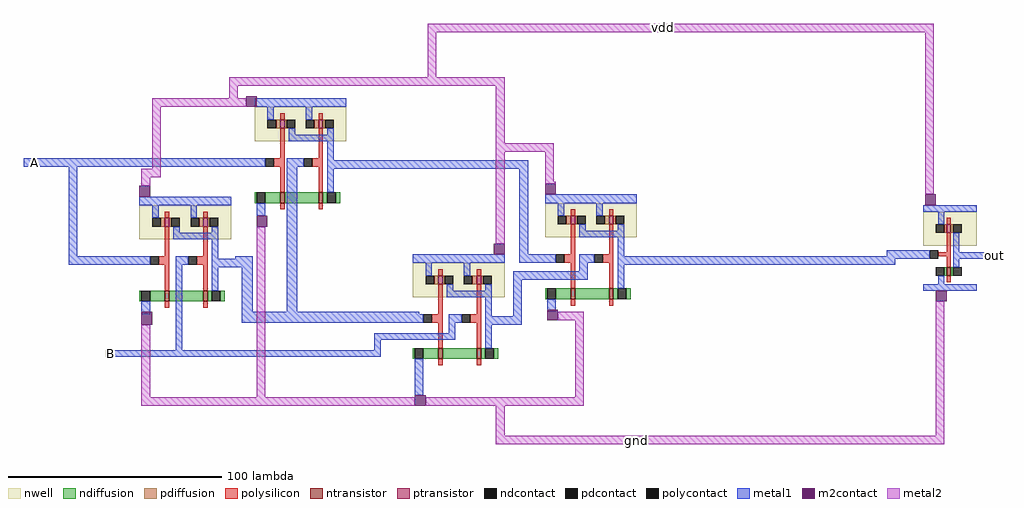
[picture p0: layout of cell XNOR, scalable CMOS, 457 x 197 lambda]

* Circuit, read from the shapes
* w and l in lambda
.subckt XNOR A B gnd out vdd
M1 n1 A gnd VSUBS nfet w=5 l=2
M2 XOR_0/NAND_3/A B n1 VSUBS nfet w=5 l=2
M3 n2 A gnd VSUBS nfet w=5 l=2
M4 XOR_0/NAND_1/A XOR_0/NAND_3/A n2 VSUBS nfet w=5 l=2
M5 n3 XOR_0/NAND_3/A gnd VSUBS nfet w=5 l=2
M6 XOR_0/NAND_1/B B n3 VSUBS nfet w=5 l=2
M7 n4 XOR_0/NAND_1/A gnd VSUBS nfet w=5 l=2
M8 not_0/in XOR_0/NAND_1/B n4 VSUBS nfet w=5 l=2
M9 out not_0/in gnd VSUBS nfet w=4 l=2
M10 XOR_0/NAND_3/A A vdd n5 pfet w=4 l=2
M11 XOR_0/NAND_3/A B vdd n5 pfet w=4 l=2
M12 XOR_0/NAND_1/A A vdd n6 pfet w=4 l=2
M13 XOR_0/NAND_1/A XOR_0/NAND_3/A vdd n6 pfet w=4 l=2
M14 XOR_0/NAND_1/B XOR_0/NAND_3/A vdd n7 pfet w=4 l=2
M15 XOR_0/NAND_1/B B vdd n7 pfet w=4 l=2
M16 not_0/in XOR_0/NAND_1/A vdd n8 pfet w=4 l=2
M17 not_0/in XOR_0/NAND_1/B vdd n8 pfet w=4 l=2
M18 out not_0/in vdd n9 pfet w=4 l=2
.ends

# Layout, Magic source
magic
tech scmos
<< metal1 >>
rect -10 112 4 116
rect 394 70 413 73
rect 284 69 413 70
rect 433 69 447 72
rect 284 66 398 69
rect 28 23 56 26
<< m2contact >>
rect 412 94 417 99
rect 417 49 422 54
<< metal2 >>
rect 179 175 416 179
rect 179 150 183 175
rect 412 99 416 175
rect 211 -14 215 4
rect 417 -14 421 49
rect 211 -18 421 -14
use not  not_0
transform 1 0 420 0 1 74
box -9 -20 16 20
use XOR  XOR_0
transform 1 0 136 0 1 88
box -136 -88 152 66
<< labels >>
rlabel metal1 444 70 445 71 7 out
rlabel metal1 29 24 32 25 1 B
rlabel metal1 -7 113 -3 115 3 A
rlabel metal2 287 176 292 178 5 vdd
rlabel metal2 275 -17 279 -15 1 gnd
<< end >>

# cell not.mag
magic
tech scmos
<< nwell >>
rect -9 1 16 17
<< ntransistor >>
rect 2 -13 4 -9
<< ptransistor >>
rect 2 7 4 11
<< ndiffusion >>
rect 1 -13 2 -9
rect 4 -13 5 -9
<< pdiffusion >>
rect 1 7 2 11
rect 4 7 5 11
<< ndcontact >>
rect -3 -13 1 -9
rect 5 -13 9 -9
<< pdcontact >>
rect -3 7 1 11
rect 5 7 9 11
<< polysilicon >>
rect 2 11 4 14
rect 2 -2 4 7
rect -2 -4 4 -2
rect 2 -9 4 -4
rect 2 -16 4 -13
<< polycontact >>
rect -6 -5 -2 -1
<< metal1 >>
rect -9 17 16 20
rect -2 11 1 17
rect -8 -5 -6 -1
rect 5 -2 8 7
rect 5 -5 16 -2
rect 5 -9 8 -5
rect -2 -17 1 -13
rect -9 -20 16 -17
<< labels >>
rlabel metal1 -5 18 -3 19 4 VDD
rlabel metal1 -8 -4 -7 -2 3 in
rlabel metal1 13 -4 15 -3 7 out
rlabel metal1 -2 -19 0 -18 1 gnd
<< end >>

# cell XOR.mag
magic
tech scmos
<< metal1 >>
rect -136 24 -33 28
rect -125 -18 -121 24
rect -37 1 -33 2
rect -125 -22 -90 -18
rect -75 -21 -69 -18
rect -75 -62 -72 -21
rect -47 -23 -39 -18
rect -44 -44 -39 -23
rect -23 -44 -18 28
rect 3 23 90 27
rect 86 -17 90 23
rect 86 -21 100 -17
rect 114 -25 118 -17
rect 139 -22 152 -18
rect 83 -29 118 -25
rect -44 -46 39 -44
rect -44 -49 41 -46
rect 53 -54 56 -45
rect 83 -46 87 -29
rect 77 -50 87 -46
rect 99 -43 103 -40
rect 18 -57 56 -54
rect 18 -62 21 -57
rect -83 -65 21 -62
rect 37 -83 41 -72
<< m2contact >>
rect -42 52 -37 57
rect -92 10 -87 15
rect -37 -4 -32 1
rect -91 -50 -86 -44
rect 74 -17 79 -12
rect 98 11 103 16
rect 99 -48 104 -43
rect 37 -88 42 -83
<< metal2 >>
rect -50 62 79 66
rect -50 56 -46 62
rect -86 52 -42 56
rect -86 23 -82 52
rect -91 19 -82 23
rect 75 35 79 62
rect 75 31 102 35
rect -91 15 -87 19
rect -91 -84 -87 -50
rect -37 -84 -33 -4
rect 75 -12 79 31
rect 98 17 102 31
rect 98 16 103 17
rect 104 -48 116 -44
rect -91 -88 37 -84
rect 112 -84 116 -48
rect 42 -88 116 -84
use NAND  NAND_0
transform 1 0 -37 0 1 37
box -1 -36 44 19
use NAND  NAND_1
transform 1 0 99 0 1 -8
box -1 -36 44 19
use NAND  NAND_2
transform 1 0 -91 0 1 -9
box -1 -36 44 19
use NAND  NAND_3
transform 1 0 37 0 1 -36
box -1 -36 44 19
<< labels >>
rlabel metal1 -134 25 -130 27 3 A
rlabel metal1 -81 -64 -77 -62 1 B
rlabel metal2 -83 -87 -78 -85 1 gnd
rlabel metal1 147 -21 150 -19 7 out
rlabel metal2 -73 53 -67 55 1 vdd
<< end >>

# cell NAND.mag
magic
tech scmos
<< nwell >>
rect -1 -1 42 15
<< ntransistor >>
rect 11 -30 13 -25
rect 29 -30 31 -25
<< ptransistor >>
rect 11 5 13 9
rect 29 5 31 9
<< ndiffusion >>
rect -1 -30 0 -25
rect 4 -30 11 -25
rect 13 -30 29 -25
rect 31 -30 33 -25
rect 37 -30 39 -25
<< pdiffusion >>
rect 9 5 11 9
rect 13 5 14 9
rect 27 5 29 9
rect 31 5 32 9
<< ndcontact >>
rect 0 -30 4 -25
rect 33 -30 37 -25
<< pdcontact >>
rect 5 5 9 9
rect 14 5 18 9
rect 23 5 27 9
rect 32 5 36 9
<< polysilicon >>
rect 11 9 13 12
rect 29 9 31 12
rect 11 -9 13 5
rect 29 -9 31 5
rect 8 -13 13 -9
rect 26 -13 31 -9
rect 11 -25 13 -13
rect 29 -25 31 -13
rect 11 -33 13 -30
rect 29 -33 31 -30
<< polycontact >>
rect 4 -13 8 -9
rect 22 -13 26 -9
<< metal1 >>
rect -1 15 42 19
rect 5 9 8 15
rect 23 9 26 15
rect 15 2 18 5
rect 33 2 36 5
rect 15 -1 36 2
rect 1 -13 4 -9
rect 19 -13 22 -9
rect 33 -10 36 -1
rect 33 -14 44 -10
rect 33 -25 36 -14
rect 0 -36 4 -30
<< labels >>
rlabel metal1 2 -12 3 -10 3 A
rlabel metal1 20 -12 21 -10 1 B
rlabel metal1 0 16 3 18 4 vdd
rlabel metal1 39 -13 42 -11 7 out
rlabel metal1 1 -35 3 -33 2 gnd
<< end >>
